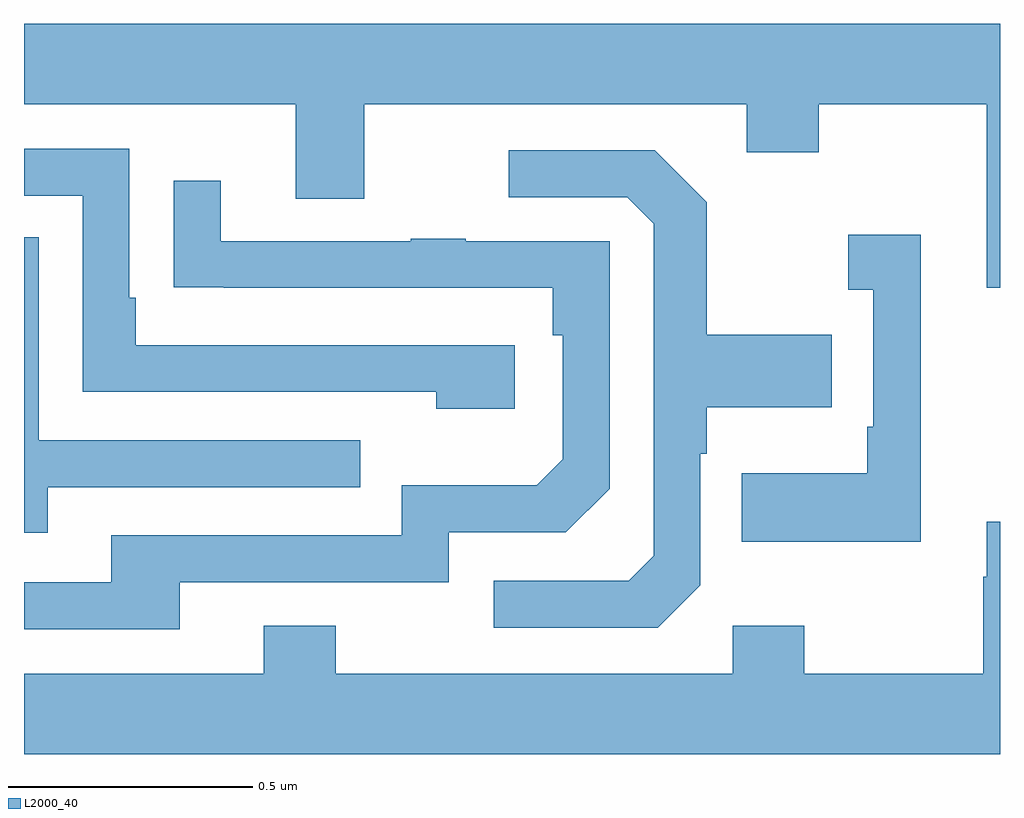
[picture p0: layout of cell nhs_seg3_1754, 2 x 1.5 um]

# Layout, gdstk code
import gdstk
lib = gdstk.Library(unit=1e-6, precision=1e-09)
def P(c, l, *ps):  # polygons
    for p in ps: c.add(gdstk.Polygon(p, *l))
L2000_40 = (2000, 40)

nhs_seg3_1754 = lib.new_cell('nhs_seg3_1754')
P(nhs_seg3_1754, L2000_40, [(134,733.048),(132,733.048),(132,732.884),(132.557,732.884),(132.557,732.69),(132.697,732.69),(132.697,732.884),(133.481,732.884),(133.481,732.785),(133.629,732.785),(133.629,732.884),(133.973,732.884),(133.973,732.507),(134,732.507)],
  [(133.006,732.39),(132.229,732.39),(132.229,732.487),(132.216,732.487),(132.216,732.792),(132,732.792),(132,732.696),(132.12,732.696),(132.12,732.294),(132.845,732.294),(132.845,732.26),(133.006,732.26)],
  [(133.386,731.898),(133.386,732.167),(133.399,732.167),(133.399,732.263),(133.655,732.263),(133.655,732.411),(133.399,732.411),(133.399,732.683),(133.293,732.789),(132.993,732.789),(132.993,732.693),(133.236,732.693),(133.29,732.639),(133.29,731.958),(133.239,731.907),(132.963,731.907),(132.963,731.811),(133.299,731.811)],
  [(132.319,731.904),(132.87,731.904),(132.87,732.006),(133.11,732.006),(133.2,732.096),(133.2,732.603),(132.905,732.603),(132.905,732.608),(132.793,732.608),(132.793,732.603),(132.403,732.603),(132.403,732.727),(132.307,732.727),(132.307,732.508),(132.409,732.508),(132.409,732.507),(133.084,732.507),(133.084,732.41),(133.104,732.41),(133.104,732.156),(133.051,732.103),(132.774,732.103),(132.774,732),(132.179,732),(132.179,731.904),(132,731.904),(132,731.808),(132.319,731.808)],
  [(133.838,732.616),(133.689,732.616),(133.689,732.503),(133.74,732.503),(133.74,732.223),(133.728,732.223),(133.728,732.127),(133.471,732.127),(133.471,731.987),(133.838,731.987)],
  [(132.049,732.099),(132.689,732.099),(132.689,732.195),(132.03,732.195),(132.03,732.611),(132,732.611),(132,732.005),(132.049,732.005)],
  [(134,732.028),(133.973,732.028),(133.973,731.915),(133.966,731.915),(133.966,731.716),(133.599,731.716),(133.599,731.815),(133.452,731.815),(133.452,731.716),(132.639,731.716),(132.639,731.815),(132.491,731.815),(132.491,731.716),(132,731.716),(132,731.552),(134,731.552)])

lib.write_gds('nhs_seg3_1754.gds')
